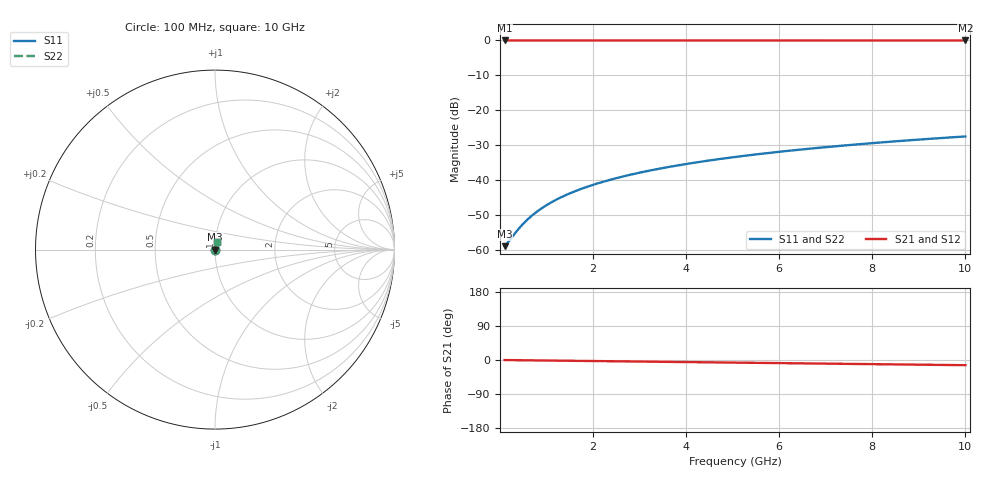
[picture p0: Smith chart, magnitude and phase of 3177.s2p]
# Hz S RI R 50.00
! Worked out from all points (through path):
!   100 points, 100 MHz to 10 GHz, reference 50 ohm
!   highest |S21| = -0.01 dB at 100 MHz (marker M1); lowest = 0.0 dB at 10 GHz (marker M2)
!   group delay of S21, straight-line fit = 3.8 ps
!   lowest |S11| = -58.8 dB at 100 MHz (marker M3), VSWR 1.00, Z = 50.1 + j0.0426 ohm
!   |S11| at or under -10 dB: start of sweep to end of sweep
!   |S22| runs from -58.8 to -27.5 dB; largest |S21 - S12| = 0
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1e8  0.00106 0.000425  0.9989 -0.00238  0.9989 -0.00238  0.00106 0.000425
2e8  0.00107 0.00085  0.9989 -0.00475  0.9989 -0.00475  0.00107 0.00085
4e8  0.00109 0.0017  0.9989 -0.0095  0.9989 -0.0095  0.00109 0.0017
5e8  0.0011 0.00212  0.9988 -0.0119  0.9988 -0.0119  0.0011 0.00212
6e8  0.00112 0.00255  0.9988 -0.0143  0.9988 -0.0143  0.00112 0.00255
7e8  0.00113 0.00297  0.9988 -0.0166  0.9988 -0.0166  0.00113 0.00297
8e8  0.00115 0.0034  0.9987 -0.019  0.9987 -0.019  0.00115 0.0034
1e9  0.00119 0.00425  0.9986 -0.0238  0.9986 -0.0238  0.00119 0.00425
1.2e9  0.00124 0.0051  0.9985 -0.0285  0.9985 -0.0285  0.00124 0.0051
1.5e9  0.00132 0.00637  0.9982 -0.0356  0.9982 -0.0356  0.00132 0.00637
1.8e9  0.00142 0.00764  0.9979 -0.0427  0.9979 -0.0427  0.00142 0.00764
2.1e9  0.00154 0.0089  0.9976 -0.0499  0.9976 -0.0499  0.00154 0.0089
2.5e9  0.00173 0.0106  0.997 -0.0594  0.997 -0.0594  0.00173 0.0106
2.9e9  0.00195 0.0123  0.9964 -0.0689  0.9964 -0.0689  0.00195 0.0123
3.4e9  0.00227 0.0144  0.9955 -0.0807  0.9955 -0.0807  0.00227 0.0144
4.2e9  0.00289 0.0177  0.9937 -0.0997  0.9937 -0.0997  0.00289 0.0177
5.1e9  0.00373 0.0214  0.9912 -0.121  0.9912 -0.121  0.00373 0.0214
5.9e9  0.00462 0.0247  0.9886 -0.1399  0.9886 -0.1399  0.00462 0.0247
6.7e9  0.00563 0.028  0.9856 -0.1588  0.9856 -0.1588  0.00563 0.028
7.5e9  0.00677 0.0312  0.9823 -0.1776  0.9823 -0.1776  0.00677 0.0312
8.4e9  0.00819 0.0347  0.9781 -0.1987  0.9781 -0.1987  0.00819 0.0347
1e10  0.0111 0.0409  0.9695 -0.2361  0.9695 -0.2361  0.0111 0.0409
